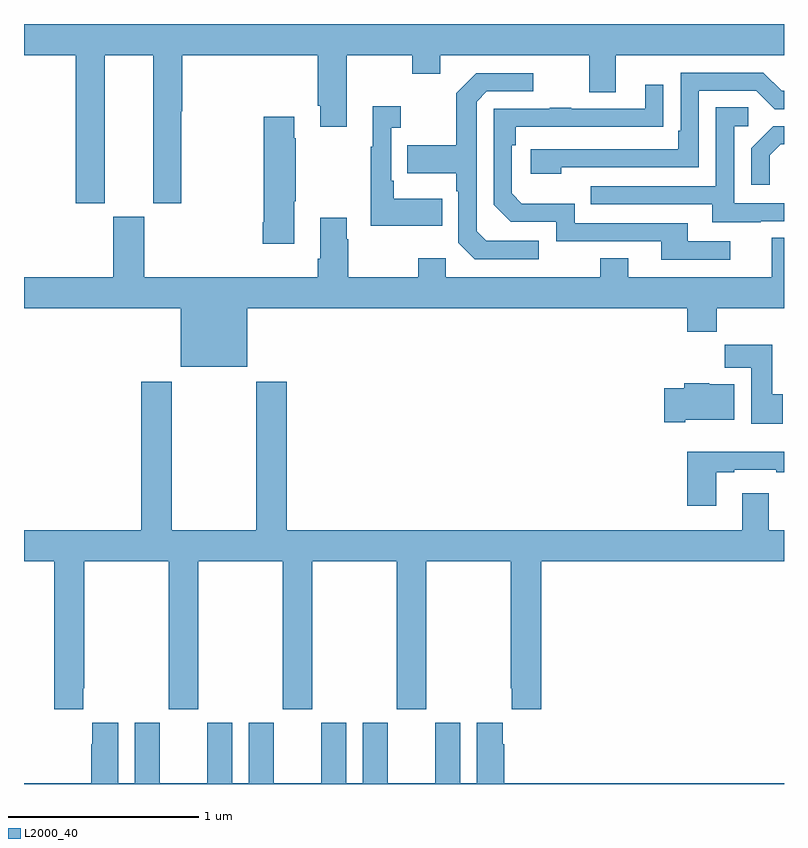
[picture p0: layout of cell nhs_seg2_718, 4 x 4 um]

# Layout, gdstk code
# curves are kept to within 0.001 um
import gdstk
lib = gdstk.Library(unit=1e-6, precision=1e-09)
def P(c, l, *ps):  # polygons
    for p in ps: c.add(gdstk.Polygon(p, *l))
L2000_40 = (2000, 40)

nhs_seg2_718 = lib.new_cell('nhs_seg2_718')
P(nhs_seg2_718, L2000_40, [(147.424,647.636),(147.68,647.636),(147.68,646.857),(147.828,646.857),(147.828,647.34),(147.833,647.34),(147.833,647.636),(148.547,647.636),(148.547,647.371),(148.559,647.371),(148.559,647.259),(148.699,647.259),(148.699,647.636),(149.044,647.636),(149.044,647.537),(149.191,647.537),(149.191,647.636),(149.975,647.636),(149.975,647.442),(150.115,647.442),(150.115,647.636),(151,647.636),(151,647.8),(147,647.8),(147,647.636),(147.272,647.636),(147.272,646.857),(147.424,646.857)],
  [(149.828,647.046),(150.552,647.046),(150.552,647.448),(150.855,647.448),(150.951,647.352),(151,647.352),(151,647.448),(150.987,647.448),(150.891,647.544),(150.456,647.544),(150.456,647.239),(150.443,647.239),(150.443,647.142),(149.667,647.142),(149.667,647.012),(149.828,647.012)],
  [(149.71,646.659),(149.433,646.659),(149.382,646.71),(149.382,647.391),(149.436,647.445),(149.68,647.445),(149.68,647.541),(149.379,647.541),(149.274,647.435),(149.274,647.163),(149.017,647.163),(149.017,647.015),(149.274,647.015),(149.274,646.919),(149.286,646.919),(149.286,646.65),(149.373,646.563),(149.71,646.563)],
  [(150.718,646.656),(150.493,646.656),(150.493,646.752),(149.898,646.752),(149.898,646.855),(149.621,646.855),(149.568,646.908),(149.568,647.162),(149.588,647.162),(149.588,647.259),(150.365,647.26),(150.365,647.479),(150.269,647.479),(150.269,647.355),(149.879,647.355),(149.879,647.36),(149.767,647.36),(149.767,647.355),(149.472,647.355),(149.472,646.848),(149.562,646.758),(149.802,646.758),(149.802,646.656),(150.353,646.656),(150.353,646.56),(150.718,646.56)],
  [(149.201,646.879),(148.945,646.879),(148.945,646.975),(148.932,646.975),(148.932,647.255),(148.984,647.255),(148.984,647.368),(148.835,647.368),(148.835,647.155),(148.824,647.155),(148.824,646.739),(149.201,646.739)],
  [(150.877,646.761),(151,646.761),(151,646.857),(150.738,646.857),(150.738,647.262),(150.811,647.262),(150.811,647.363),(150.642,647.363),(150.642,646.947),(149.983,646.947),(149.983,646.851),(150.623,646.851),(150.623,646.757),(150.877,646.757)],
  [(148.423,646.867),(148.431,646.867),(148.431,647.198),(148.423,647.198),(148.423,647.311),(148.261,647.311),(148.261,646.756),(148.256,646.756),(148.256,646.644),(148.423,646.644)],
  [(150.925,647.109),(150.982,647.166),(151,647.166),(151,647.262),(150.944,647.262),(150.828,647.146),(150.828,646.953),(150.925,646.953)],
  [(148.174,646.304),(150.491,646.304),(150.491,646.18),(150.647,646.18),(150.647,646.304),(151,646.304),(151,646.676),(150.935,646.676),(150.935,646.468),(150.181,646.468),(150.181,646.567),(150.034,646.567),(150.034,646.468),(149.22,646.468),(149.22,646.567),(149.074,646.567),(149.074,646.468),(148.707,646.468),(148.707,646.667),(148.699,646.667),(148.699,646.78),(148.559,646.78),(148.559,646.564),(148.547,646.564),(148.547,646.468),(147.634,646.468),(147.634,646.785),(147.47,646.785),(147.47,646.468),(147,646.468),(147,646.304),(147.824,646.304),(147.824,645.995),(148.174,645.995)],
  [(150.994,645.852),(150.937,645.852),(150.937,646.111),(150.688,646.111),(150.688,645.992),(150.827,645.992),(150.827,645.696),(150.994,645.696)],
  [(147.313,644.305),(147.318,644.305),(147.318,644.972),(147.763,644.972),(147.763,644.193),(147.918,644.193),(147.918,644.972),(148.363,644.972),(148.363,644.193),(148.518,644.193),(148.518,644.972),(148.963,644.972),(148.963,644.193),(149.118,644.193),(149.118,644.972),(149.563,644.972),(149.563,644.305),(149.567,644.305),(149.567,644.193),(149.723,644.193),(149.723,644.972),(151,644.972),(151,645.136),(150.919,645.136),(150.919,645.331),(150.779,645.331),(150.779,645.136),(148.382,645.136),(148.382,645.916),(148.222,645.916),(148.222,645.136),(147.777,645.136),(147.777,645.916),(147.617,645.916),(147.617,645.136),(147,645.136),(147,644.972),(147.158,644.972),(147.158,644.193),(147.313,644.193)],
  [(150.481,645.716),(150.739,645.716),(150.739,645.904),(150.606,645.904),(150.606,645.91),(150.476,645.91),(150.476,645.882),(150.369,645.882),(150.369,645.704),(150.481,645.704)],
  [(150.643,645.441),(150.739,645.441),(150.739,645.453),(150.959,645.453),(150.959,645.441),(151,645.441),(151,645.55),(150.491,645.55),(150.491,645.264),(150.643,645.264)],
  [(151,643.804),(149.528,643.804),(149.528,644.009),(149.521,644.009),(149.521,644.122),(149.384,644.122),(149.384,643.804),(149.296,643.804),(149.296,644.122),(149.165,644.122),(149.165,643.804),(148.915,643.804),(148.915,644.122),(148.784,644.122),(148.784,643.804),(148.696,643.804),(148.696,644.122),(148.565,644.122),(148.565,643.804),(148.315,643.804),(148.315,644.122),(148.184,644.122),(148.184,643.804),(148.096,643.804),(148.096,644.122),(147.965,644.122),(147.965,643.804),(147.715,643.804),(147.715,644.122),(147.584,644.122),(147.584,643.804),(147.496,643.804),(147.496,644.122),(147.359,644.122),(147.359,644.009),(147.353,644.009),(147.353,643.804),(147,643.804),(147,643.8),(151,643.8)])

lib.write_gds('nhs_seg2_718.gds')
